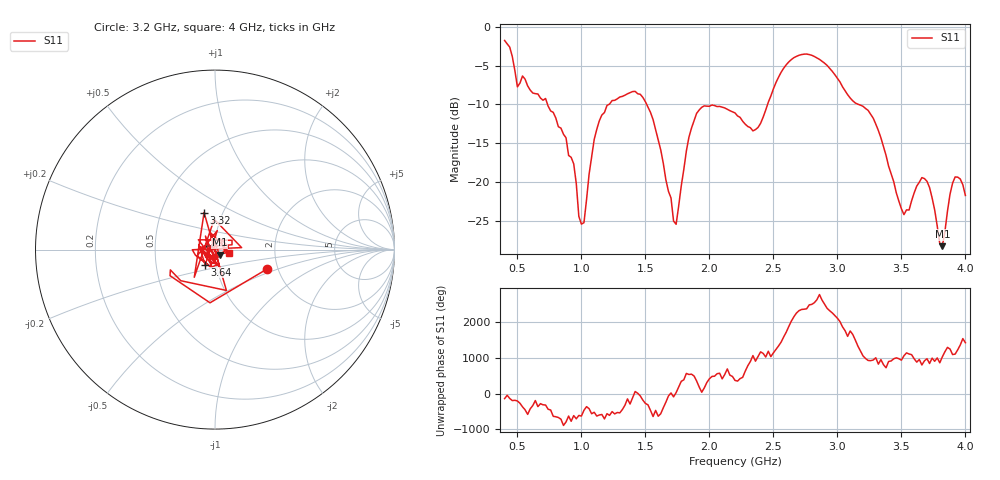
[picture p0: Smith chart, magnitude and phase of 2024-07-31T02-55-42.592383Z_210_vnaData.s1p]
!Created with skrf (http://scikit-rf.org).
# Hz S RI R 50.0
!freq ReS11 ImS11
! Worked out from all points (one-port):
!   181 points, 400 MHz to 4 GHz, reference 50 ohm
!   lowest |S11| = -28.2 dB at 3.82 GHz (marker M1), VSWR 1.08, Z = 52.6 - j3.04 ohm
!   |S11| at or under -10 dB: 735.6 MHz to 1.214 GHz (478.8 MHz wide, 49.1 % of centre); 1.51 GHz to 2.454 GHz (944.4 MHz wide, 47.6 % of centre); 3.165 GHz to end of sweep
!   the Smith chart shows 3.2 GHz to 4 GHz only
!   S11 on the Smith chart (normalised r, x): 3.2 GHz: 1.74, -0.42; 3.32 GHz: 0.82, +0.35; 3.64 GHz: 0.88, -0.15; 4 GHz: 1.17, -0.04
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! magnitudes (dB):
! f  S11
! 400 MHz  -1.8
! 500 MHz  -7.7
! 720 MHz  -9.2
! 860 MHz  -13.8
! 940 MHz  -17.7
! 980 MHz  -24.4
! 1.02 GHz  -25.2
! 1.12 GHz  -13.2
! 1.3 GHz  -9.0
! 1.5 GHz  -9.6
! 1.62 GHz  -15.9
! 1.72 GHz  -25.0
! 1.76 GHz  -23.1
! 1.9 GHz  -11.2
! 2.2 GHz  -11.1
! 2.38 GHz  -13.0
! 2.66 GHz  -4.0
! 2.86 GHz  -4.2
! 3.1 GHz  -9.2
! 3.2 GHz  -10.2
! 3.32 GHz  -13.4
! 3.5 GHz  -23.4
! 3.56 GHz  -23.6
! 3.64 GHz  -20.0
! 3.72 GHz  -20.7
! 3.82 GHz  -28.2
! 3.92 GHz  -19.3
! 4 GHz  -21.7
